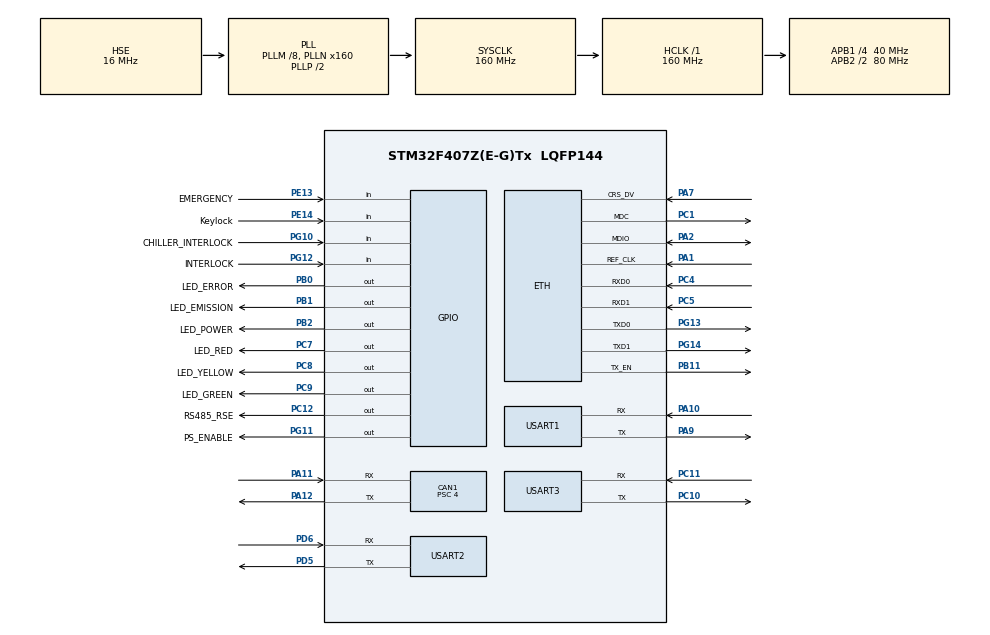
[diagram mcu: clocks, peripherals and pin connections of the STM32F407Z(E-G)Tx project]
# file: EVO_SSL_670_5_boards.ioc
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CAN1.BS1=CAN_BS1_11TQ
CAN1.BS2=CAN_BS2_8TQ
CAN1.CalculateBaudRate=500000
CAN1.CalculateTimeBit=2000
CAN1.CalculateTimeQuantum=100.0
CAN1.Prescaler=4
ETH.MACAddr=00\:80\:E1\:00\:00\:0B
ETH.MediaInterface=HAL_ETH_RMII_MODE
ETH.PHY_DUPLEX_STATUS=0x0010
ETH.PHY_Name_RMII=DP83848_PHY_ADDRESS
ETH.PHY_SPEED_STATUS=0x0004
ETH.PHY_SR=0x1F
ETH.PhyAddress=3
FREERTOS.Mutexes01=CanMutex,Dynamic,NULL
FREERTOS.Tasks01=main_task,0,2048,h_main_task,Default,NULL,Dynamic,NULL,NULL;indi_task,0,256,h_indi_task,Default,NULL,Dynamic,NULL,NULL;server_task,0,2048,h_server_task,Default,NULL,Dynamic,NULL,NULL;can_send,0,1024,h_can_send,Default,NULL,Dynamic,NULL,NULL;toolsTask,-3,512,h_tools,Default,NULL,Dynamic,NULL,NULL
FREERTOS.configTOTAL_HEAP_SIZE=40000
FREERTOS.configUSE_NEWLIB_REENTRANT=1
LWIP.BSP.number=1
LWIP.LWIP_DHCP=0
LWIP.LWIP_NETIF_LOOPBACK=1
LWIP.LWIP_NETIF_STATUS_CALLBACK=1
LWIP.LWIP_SO_RCVTIMEO=1
LWIP.LWIP_SO_SNDRCVTIMEO_NONSTANDARD=0
LWIP.LWIP_SO_SNDTIMEO=1
LWIP.NETMASK_ADDRESS=255.255.255.000
LWIP.Version=v2.1.2_Cube
LWIP0.BSP.STBoard=false
LWIP0.BSP.api=BSP_COMPONENT_DRIVER
LWIP0.BSP.component=DP83848
LWIP0.BSP.instance=DP83848
LWIP0.BSP.name=Driver_PHY
LWIP0.BSP.semaphore=S_DP83848
LWIP0.BSP.solution=DP83848
Mcu.Family=STM32F4
Mcu.Name=STM32F407Z(E-G)Tx
Mcu.Package=LQFP144
NVIC.CAN1_RX0_IRQn=true\:5\:0\:false\:false\:true\:true\:true\:true\:true
NVIC.ETH_IRQn=true\:5\:0\:false\:false\:true\:true\:true\:true\:true
NVIC.PriorityGroup=NVIC_PRIORITYGROUP_4
NVIC.TIM6_DAC_IRQn=true\:15\:0\:false\:false\:true\:false\:true\:true\:true
NVIC.TimeBase=TIM6_DAC_IRQn
NVIC.TimeBaseIP=TIM6
NVIC.USART1_IRQn=true\:5\:0\:false\:false\:true\:true\:true\:true\:true
NVIC.USART2_IRQn=true\:5\:0\:false\:false\:true\:true\:true\:true\:true
NVIC.USART3_IRQn=true\:5\:0\:false\:false\:true\:true\:true\:true\:true
PA1.Mode=RMII
PA1.Signal=ETH_REF_CLK
PA10.Mode=Asynchronous
PA10.Signal=USART1_RX
PA11.Mode=CAN_Activate
PA11.Signal=CAN1_RX
PA12.Mode=CAN_Activate
PA12.Signal=CAN1_TX
PA13.Mode=Trace_Asynchronous_SW
PA13.Signal=SYS_JTMS-SWDIO
PA14.Mode=Trace_Asynchronous_SW
PA14.Signal=SYS_JTCK-SWCLK
PA2.Mode=RMII
PA2.Signal=ETH_MDIO
PA7.Mode=RMII
PA7.Signal=ETH_CRS_DV
PA9.Mode=Asynchronous
PA9.Signal=USART1_TX
PB0.GPIO_Label=LED_ERROR
PB0.Signal=GPIO_Output
PB1.GPIO_Label=LED_EMISSION
PB1.Signal=GPIO_Output
PB11.Mode=RMII
PB11.Signal=ETH_TX_EN
PB2.GPIO_Label=LED_POWER
PB2.Signal=GPIO_Output
PB3.Mode=Trace_Asynchronous_SW
PB3.Signal=SYS_JTDO-SWO
PC1.Mode=RMII
PC1.Signal=ETH_MDC
PC10.Mode=Asynchronous
PC10.Signal=USART3_TX
PC11.Mode=Asynchronous
PC11.Signal=USART3_RX
PC12.GPIO_Label=RS485_RSE
PC12.Signal=GPIO_Output
PC4.Mode=RMII
PC4.Signal=ETH_RXD0
PC5.Mode=RMII
PC5.Signal=ETH_RXD1
PC7.GPIO_Label=LED_RED
PC7.Signal=GPIO_Output
PC8.GPIO_Label=LED_YELLOW
PC8.Signal=GPIO_Output
PC9.GPIO_Label=LED_GREEN
PC9.Signal=GPIO_Output
PD5.Mode=Asynchronous
PD5.Signal=USART2_TX
PD6.Mode=Asynchronous
PD6.Signal=USART2_RX
PE13.GPIO_Label=EMERGENCY
PE13.Signal=GPIO_Input
PE14.GPIO_Label=Keylock
PE14.Signal=GPIO_Input
PG10.GPIO_Label=CHILLER_INTERLOCK
PG10.GPIO_PuPd=GPIO_NOPULL
PG10.Signal=GPIO_Input
PG11.GPIO_Label=PS_ENABLE
PG11.Signal=GPIO_Output
PG12.GPIO_Label=INTERLOCK
PG12.Signal=GPIO_Input
PG13.Mode=RMII
PG13.Signal=ETH_TXD0
PG14.Mode=RMII
PG14.Signal=ETH_TXD1
PH0-OSC_IN.Mode=HSE-External-Oscillator
PH0-OSC_IN.Signal=RCC_OSC_IN
PH1-OSC_OUT.Mode=HSE-External-Oscillator
PH1-OSC_OUT.Signal=RCC_OSC_OUT
ProjectManager.HeapSize=0x400
ProjectManager.StackSize=0x800
ProjectManager.TargetToolchain=STM32CubeIDE
RCC.48MHZClocksFreq_Value=45714285.71428572
RCC.AHBFreq_Value=160000000
RCC.APB1CLKDivider=RCC_HCLK_DIV4
RCC.APB1Freq_Value=40000000
RCC.APB1TimFreq_Value=80000000
RCC.APB2CLKDivider=RCC_HCLK_DIV2
RCC.APB2Freq_Value=80000000
RCC.APB2TimFreq_Value=160000000
RCC.CortexFreq_Value=160000000
RCC.HCLKFreq_Value=160000000
RCC.HSE_VALUE=16000000
RCC.HSI_VALUE=16000000
RCC.LSE_VALUE=32768
RCC.PLLM=8
RCC.PLLN=160
RCC.PLLQ=7
RCC.PLLSourceVirtual=RCC_PLLSOURCE_HSE
RCC.SYSCLKFreq_VALUE=160000000
RCC.SYSCLKSource=RCC_SYSCLKSOURCE_PLLCLK
RCC.VCOOutputFreq_Value=320000000
USART1.VirtualMode=VM_ASYNC
USART2.VirtualMode=VM_ASYNC
USART3.VirtualMode=VM_ASYNC
VP_FREERTOS_VS_CMSIS_V1.Mode=CMSIS_V1
VP_LWIP_VS_Enabled.Mode=Enabled
VP_SYS_VS_tim6.Mode=TIM6
board=custom

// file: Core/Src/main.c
/* USER CODE BEGIN Header */
/**
  ******************************************************************************
  * @file           : main.c
  * @brief          : Main program body
  ******************************************************************************
  * @attention
  *
  * Copyright (c) 2023 STMicroelectronics.
  * All rights reserved.
  *
  * This software is licensed under terms that can be found in the LICENSE file
  * in the root directory of this software component.
  * If no LICENSE file comes with this software, it is provided AS-IS.
  *
  ******************************************************************************
  */
/* USER CODE END Header */
#include "main.h"
#include "cmsis_os.h"
#include "can.h"
#include "lwip.h"
#include "usart.h"
#include "gpio.h"

void SystemClock_Config(void);
void MX_FREERTOS_Init(void);

int main(void)
{

  /* MCU Configuration--------------------------------------------------------*/

  /* Reset of all peripherals, Initializes the Flash interface and the Systick. */
   HAL_Init();

  /* USER CODE BEGIN Init */
  HAL_Delay(1000);
  /* USER CODE END Init */

  /* Configure the system clock */
  SystemClock_Config();

  /* Initialize all configured peripherals */
  MX_GPIO_Init();
  MX_CAN1_Init();
  MX_USART1_UART_Init();
  MX_USART3_UART_Init();
  MX_USART2_UART_Init();

  /* Call init function for freertos objects (in cmsis_os2.c) */
  MX_FREERTOS_Init();

  /* Start scheduler */
  osKernelStart();

  /* We should never get here as control is now taken by the scheduler */

  /* Infinite loop */
  while (1)
  {

  }
}

void SystemClock_Config(void)
{
  RCC_OscInitTypeDef RCC_OscInitStruct = {0};
  RCC_ClkInitTypeDef RCC_ClkInitStruct = {0};

  /** Configure the main internal regulator output voltage
  */
  __HAL_RCC_PWR_CLK_ENABLE();
  __HAL_PWR_VOLTAGESCALING_CONFIG(PWR_REGULATOR_VOLTAGE_SCALE1);

  /** Initializes the RCC Oscillators according to the specified parameters
  * in the RCC_OscInitTypeDef structure.
  */
  RCC_OscInitStruct.OscillatorType = RCC_OSCILLATORTYPE_HSE;
  RCC_OscInitStruct.HSEState = RCC_HSE_ON;
  RCC_OscInitStruct.PLL.PLLState = RCC_PLL_ON;
  RCC_OscInitStruct.PLL.PLLSource = RCC_PLLSOURCE_HSE;
  RCC_OscInitStruct.PLL.PLLM = 8;
  RCC_OscInitStruct.PLL.PLLN = 160;
  RCC_OscInitStruct.PLL.PLLP = RCC_PLLP_DIV2;
  RCC_OscInitStruct.PLL.PLLQ = 7;
  if (HAL_RCC_OscConfig(&RCC_OscInitStruct) != HAL_OK)
  {
    Error_Handler();
  }

  /** Initializes the CPU, AHB and APB buses clocks
  */
  RCC_ClkInitStruct.ClockType = RCC_CLOCKTYPE_HCLK|RCC_CLOCKTYPE_SYSCLK
                              |RCC_CLOCKTYPE_PCLK1|RCC_CLOCKTYPE_PCLK2;
  RCC_ClkInitStruct.SYSCLKSource = RCC_SYSCLKSOURCE_PLLCLK;
  RCC_ClkInitStruct.AHBCLKDivider = RCC_SYSCLK_DIV1;
  RCC_ClkInitStruct.APB1CLKDivider = RCC_HCLK_DIV4;
  RCC_ClkInitStruct.APB2CLKDivider = RCC_HCLK_DIV2;

  if (HAL_RCC_ClockConfig(&RCC_ClkInitStruct, FLASH_LATENCY_5) != HAL_OK)
  {
    Error_Handler();
  }
}

void HAL_TIM_PeriodElapsedCallback(TIM_HandleTypeDef *htim)
{
  if (htim->Instance == TIM6) {
    HAL_IncTick();
  }
}

void Error_Handler(void)
{
  __disable_irq();
  while (1)
  {
  }
}

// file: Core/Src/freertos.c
/* USER CODE BEGIN Header */
/**
  ******************************************************************************
  * File Name          : freertos.c
  * Description        : Code for freertos applications
  ******************************************************************************
  * @attention
  *
  * Copyright (c) 2023 STMicroelectronics.
  * All rights reserved.
  *
  * This software is licensed under terms that can be found in the LICENSE file
  * in the root directory of this software component.
  * If no LICENSE file comes with this software, it is provided AS-IS.
  *
  ******************************************************************************
  */
#include "../Inc/main.h"
#ifndef TB_DEF
/* USER CODE END Header */

#include "FreeRTOS.h"
#include "task.h"
#include "main.h"
#include "cmsis_os.h"

/* USER CODE BEGIN Includes */
#endif
#include "../Inc/tools.h"
#include "../Inc/global.h"
#include "../Inc/can.h"
#include "../Inc/server.h"
#include "../Inc/commands_handler.h"
#include "../Inc/hardware.h"
#include "../../board_prj_driver_lib/tools/temp_control.h"

/* USER CODE END Includes */

/* USER CODE BEGIN Variables */
device_struct mcs_storage;

uint8_t uart1_rx_byte; // PSU rs232 interface
uint8_t uart2_rx_byte;

#if HPLD_1000_COUNT > 0
	uint8_t hpld_1000_can_id[HPLD_1000_COUNT] = {2};
#endif
#if TEC3_COUNT > 0
	uint8_t tec3_can_id[TEC3_COUNT] = {3,4,5,6};
#endif
#if TEC2_COUNT > 0
	uint8_t tec2_can_id[TEC2_COUNT] = {7};
#endif
#if CB_COUNT > 0
	uint8_t cb_can_id[TEC3_COUNT] = {1};
#endif

/* Definitions for dev_refresh_task */
int dev_refresh_task_state = 0;
osThreadId  dev_refresh_taskHandle;
osThreadId  oriental_laser_taskHandle;

QueueHandle_t  ind_queueHandle;
QueueHandle_t int_can_mess_queue;
QueueHandle_t send_can_mess_queue;
QueueHandle_t link_queueHandle;
QueueHandle_t tcp_rx_data_queue;
QueueHandle_t  exti_alarm_queueHandle;
QueueHandle_t  debugger_queueHandle;
QueueHandle_t rs232_rx_data_queue;

/* USER CODE END Variables */
osThreadId main_taskHandle;
osThreadId indi_taskHandle;
osThreadId server_taskHandle;
osThreadId can_sendHandle;
osThreadId toolsTaskHandle;
osMutexId CanMutexHandle;

/* USER CODE BEGIN FunctionPrototypes */
void TEC_temperature_check(device_struct* mcs);
void dev_refresh_task_h(const void *argument);
/* USER CODE END FunctionPrototypes */

void h_main_task(void const * argument);
void h_indi_task(void const * argument);
void h_server_task(void const * argument);
void h_can_send(void const * argument);
void h_tools(void const * argument);

extern void MX_LWIP_Init(void);
void MX_FREERTOS_Init(void); /* (MISRA C 2004 rule 8.1) */

/* GetIdleTaskMemory prototype (linked to static allocation support) */
void vApplicationGetIdleTaskMemory( StaticTask_t **ppxIdleTaskTCBBuffer, StackType_t **ppxIdleTaskStackBuffer, uint32_t *pulIdleTaskStackSize );

/* USER CODE BEGIN GET_IDLE_TASK_MEMORY */
static StaticTask_t xIdleTaskTCBBuffer;
static StackType_t xIdleStack[configMINIMAL_STACK_SIZE];
#ifndef TB_DEF
void vApplicationGetIdleTaskMemory( StaticTask_t **ppxIdleTaskTCBBuffer, StackType_t **ppxIdleTaskStackBuffer, uint32_t *pulIdleTaskStackSize )
{
  *ppxIdleTaskTCBBuffer = &xIdleTaskTCBBuffer;
  *ppxIdleTaskStackBuffer = &xIdleStack[0];
  *pulIdleTaskStackSize = configMINIMAL_STACK_SIZE;
  /* place for user code */
}
#endif
/* USER CODE END GET_IDLE_TASK_MEMORY */

void MX_FREERTOS_Init(void) {
  /* USER CODE BEGIN Init */
	read_last_config_data(&mcs_storage.config);

  /* USER CODE END Init */
  /* Create the mutex(es) */
  /* definition and creation of CanMutex */
  osMutexDef(CanMutex);
  CanMutexHandle = osMutexCreate(osMutex(CanMutex));

  /* USER CODE BEGIN RTOS_QUEUES */
	/* add queues, ... */
	ind_queueHandle = xQueueCreate(10, sizeof(uint8_t));
	int_can_mess_queue = xQueueCreate(5, sizeof(can_message_struct));
	send_can_mess_queue = xQueueCreate(2, sizeof(can_message_struct_tx));
	link_queueHandle = xQueueCreate(5, sizeof(uint8_t));
	tcp_rx_data_queue  = xQueueCreate(TCP_QUEUE_BUF_SIZE, sizeof(char));
	rs232_rx_data_queue  = xQueueCreate(RS232_QUEUE_BUF_SIZE, sizeof(char));
  /* USER CODE END RTOS_QUEUES */

  /* Create the thread(s) */
  /* definition and creation of main_task */
  osThreadDef(main_task, h_main_task, osPriorityNormal, 0, 2048);
  main_taskHandle = osThreadCreate(osThread(main_task), NULL);

  /* definition and creation of indi_task */
  osThreadDef(indi_task, h_indi_task, osPriorityNormal, 0, 256);
  indi_taskHandle = osThreadCreate(osThread(indi_task), NULL);

  /* definition and creation of server_task */
  osThreadDef(server_task, h_server_task, osPriorityNormal, 0, 2048);
  server_taskHandle = osThreadCreate(osThread(server_task), NULL);

  /* definition and creation of can_send */
  osThreadDef(can_send, h_can_send, osPriorityNormal, 0, 1024);
  can_sendHandle = osThreadCreate(osThread(can_send), NULL);

  /* definition and creation of toolsTask */
  osThreadDef(toolsTask, h_tools, osPriorityIdle, 0, 512);
  toolsTaskHandle = osThreadCreate(osThread(toolsTask), NULL);

  /* USER CODE BEGIN RTOS_THREADS */
	/* add threads, ... */
  osThreadSuspend(server_taskHandle);
  osThreadSuspend(indi_taskHandle);
  osThreadSuspend(can_sendHandle);
  osThreadSuspend(toolsTaskHandle);
  /* USER CODE END RTOS_THREADS */

}

void h_main_task(void const * argument)
{
  /* init code for LWIP */
  MX_LWIP_Init();
  /* USER CODE BEGIN h_main_task */
	device_struct *mcs = &mcs_storage;
	char debug_buffer [1000];

	char tcp_buffer [1000];
	char resp [1000];
	long tcp_buffer_ind = 0 ;

	int PLD_initialized = 0;

	for(int try = 0; try < 3;try++){
		alarm_and_state_handler(mcs);
#ifndef TB_DEF
		osDelay(100);
#endif
	}

	leds_init (&mcs->leds);

	can_configure_filters(&hcan1, MCS_CAN_ID);
	can_start_module(&hcan1);
	osDelay(3000);

#if HPLD_1000_COUNT > 0
	for(uint16_t i = 0; i < HPLD_1000_COUNT;i++)
		hpld_1000_init(&mcs->hpld_1000[i],&hcan1,hpld_1000_can_id[i],&int_can_mess_queue,CanMutexHandle);
#endif

#if TEC3_COUNT > 0
	for(int i = 0; i < TEC3_COUNT; i ++)
	{
		tec3_controller_struct *dev = &mcs->tec3[i];
		tec3_init(dev, &hcan1, tec3_can_id[i], &int_can_mess_queue, CanMutexHandle);
		if(mcs->config.tec_temp[i] > 10 && mcs->config.tec_temp[i] < 100)
		{
			tec3_set_temperature_0(dev, mcs->config.tec_temp[i]);
			tec3_set_start_stop(dev, mcs->config.tec_onoff[i]);
		}
	}
#endif

#if TEC2_COUNT > 0
	for(int i = 0; i < TEC2_COUNT; i ++)
	{
		tec2_controller_struct *dev = &mcs->tec2[i];
		tec2_init(dev, &hcan1, tec2_can_id[i], &int_can_mess_queue, CanMutexHandle);
		if(mcs->config.tec_temp[i] > 10 && mcs->config.tec2_temp[i] < 100)
		{
			tec2_set_temperature_0(dev, mcs->config.tec2_temp[i]);
			tec2_set_start_stop(dev, mcs->config.tec2_onoff[i]);
		}
	}
#endif

#if CB_COUNT > 0
	for(int i = 0; i < CB_COUNT; i ++)
		EVO_SSL_670_15_CONTROL_433739_065_init(&mcs->cb[i], &hcan1, cb_can_id[i], &int_can_mess_queue, CanMutexHandle);
#endif

	osThreadResume(server_taskHandle);
	osThreadResume(indi_taskHandle);
	osThreadResume(can_sendHandle);
	osThreadResume(toolsTaskHandle);

	 osThreadDef ( dev_refresh , dev_refresh_task_h, osPriorityNormal, 1, 256);
	 dev_refresh_taskHandle = osThreadCreate(osThread(dev_refresh), NULL);

	 osThreadDef ( oriental_laser_task , vTaskPLD, osPriorityNormal, 1, 256);
	 oriental_laser_taskHandle = osThreadCreate(osThread(oriental_laser_task), NULL);

	/* Infinite loop */
	for(;;)
	{
		HAL_UART_Receive_IT ( &huart2 , &uart2_rx_byte , 1 ) ;
		if (xQueueReceive(tcp_rx_data_queue, &tcp_buffer[tcp_buffer_ind], 0) == pdPASS) {
			if (tcp_buffer[tcp_buffer_ind] == '\r' || tcp_buffer[tcp_buffer_ind] == '\n')
			{
				tcp_buffer[tcp_buffer_ind + 1] = '\0';
				CommandsHandler(mcs, resp, debug_buffer, tcp_buffer, 0);
				//	memset(tcp_buffer,0,tcp_buffer_ind);
				tcp_buffer[tcp_buffer_ind] = '\0';
				tcp_buffer_ind = 0;
			}
			else if (tcp_buffer_ind < TCP_QUEUE_BUF_SIZE - 2)
			{
				//backspase ...
				if (tcp_buffer[tcp_buffer_ind] == '\b' && tcp_buffer_ind > 0)
					tcp_buffer_ind--;
				else
					tcp_buffer_ind++;
			}
			else
			{
				tcp_buffer_ind = 0;
			}
		}
		else {
			osDelay(1);
		}
		// clear response buffer to prepare for next cycle begin
		mcs->current_interface = get_interface_in();
		// clear response buffer to prepare for next cycle end
		if(!PLD_initialized)
			if(PLD_IsConnected())
			{
				// from now we don't need to start it on startup, just parametrize
				mcs->config.psu_params.mode_state.val = 0x1A; //EXT OFF
				PLD_SetParams(&mcs->config.psu_params);
				osDelay(3000);
				PLD_SetParams(&mcs->config.psu_params);
				PLD_initialized = 1;
			}
	}
  /* USER CODE END h_main_task */
}

void h_indi_task(void const * argument)
{
  /* USER CODE BEGIN h_indi_task */
	osDelay(100);
	/* Infinite loop */
	for(;;)
	{
		indication_handler(&ind_queueHandle, &mcs_storage);
		osDelay(1);
	}
  /* USER CODE END h_indi_task */
}

void h_server_task(void const * argument)
{
  /* USER CODE BEGIN h_server_task */
	osDelay(100);
	/* Infinite loop */
	for(;;)
	{
		server_handler(&tcp_rx_data_queue,&ind_queueHandle);
	}
  /* USER CODE END h_server_task */
}

void h_can_send(void const * argument)
{
  /* USER CODE BEGIN h_can_send */
	can_message_struct_tx cm;
	int repeat = 5;
	int err =0;
  /* Infinite loop */
  for(;;)
  {
	if(xQueueReceive(send_can_mess_queue,&cm,0) == pdPASS){
		err = 0;
		xSemaphoreTake(CanMutexHandle,portMAX_DELAY);
		for (int8_t reps = repeat; reps > 0; reps --){
			can_send_message(cm.h_can, &cm.tx_header, cm.data);
			err = cm.ack_func(cm.device, cm.cmd_id, 100);
			if(err == 0)
				break;
		}
		xSemaphoreGive(CanMutexHandle);
	}
	else
		osDelay(1);
  }
  /* USER CODE END h_can_send */
}

void h_tools(void const * argument)
{
  /* USER CODE BEGIN h_tools */
	device_struct* mcs = &mcs_storage;
	float *temps_to_check[] = {
		&mcs->tec2[0].state.temp,
		&mcs->tec3[0].state.temp,
		&mcs->tec3[1].state.temp,
		&mcs->tec3[2].state.temp,
		&mcs->tec3[3].state.temp,
		&mcs->cb[0].state.temp[0],
		&mcs->cb[0].state.temp[1]
	};
	float *temps_max_levels[] = {
		&mcs->config.max_tec2_temp_level[0],
		&mcs->config.max_tec_temp_level[0],
		&mcs->config.max_tec_temp_level[1],
		&mcs->config.max_tec_temp_level[2],
		&mcs->config.max_tec_temp_level[3],
		&mcs->config.max_cb_temps_level[0],
		&mcs->config.max_cb_temps_level[1]
	};
	const int num_temperatures = sizeof(temps_to_check) / sizeof(float);
	const int num_levels = sizeof(temps_max_levels) / sizeof(float);
	const float unused_fan_temp = -1.0;

	mcs->leds.panel.power.on();
  /* Infinite loop */
	for(;;)
	{
		int err = 0;
		// turn on external green led if needed
		if(mcs->cb[0].state.green_led[0]!= 1)
			EVO_SSL_670_15_CONTROL_433739_065_set_led_green(&mcs->cb[0], 0, 1);

		if(mcs->cb[0].state.green_led[1] != mcs->user_mode.PSU_permission)
			EVO_SSL_670_15_CONTROL_433739_065_set_led_green(&mcs->cb[0], 1, mcs->user_mode.PSU_permission);

		alarm_and_state_handler (mcs);
		temp_control(temps_to_check, num_temperatures, unused_fan_temp, temps_max_levels, num_levels, &mcs->user_mode.overheat);

		mcs->user_mode.output_started = get_emission(mcs);
		if(mcs->cb[0].state.orange_led != mcs->user_mode.output_started)
			EVO_SSL_670_15_CONTROL_433739_065_set_led_orange(&mcs->cb[0], mcs->user_mode.output_started);

		TEC_temperature_check(mcs);

		err += get_error(mcs);
		if(mcs->cb[0].state.red_led != (err!=0))
			EVO_SSL_670_15_CONTROL_433739_065_set_led_red(&mcs->cb[0], (err!=0));

		if(mcs->psu.mode_state.bits.output)
		{
			int psu_err = 0;
			psu_err += mcs->psu.mode_state.bits.no_flow;
			psu_err += !mcs->psu.mode_state.bits.no_overcurrent;
			psu_err += !mcs->psu.mode_state.bits.no_overtemp;
			psu_err += !mcs->psu.mode_state.bits.no_overvoltage;
			if(psu_err)
			{
				PLD_data_t p = mcs->psu;
				p.mode_state.val = 0x1A; // External trigger Off
				PLD_SetParams(&p);
			}
		}

		// internal leds control
		(mcs->user_mode.output_started == 0)?mcs->leds.panel.emission.off():mcs->leds.panel.emission.on();
		(err == 0)?mcs->leds.panel.error.off():mcs->leds.panel.error.on();

		// we're not using mcs->user_mode.ld_tec_not_ready because it is only for user loop
		if (mcs->alarms.val != 0 && mcs->user_mode.output_started) {
			user_mode_prepare ();
			create_usr_offtaskHandle ();
		}
	}
  /* USER CODE END h_tools */
}

/* USER CODE BEGIN Application */

void TEC_temperature_check(device_struct* mcs)
{
#define OK_STATE_TIME 30
	static uint32_t ok_state_time_for_all = 0;
	static uint32_t last_ok_state_time_for_all = 0;
	int ok_state = 1;
//	for(int i = 0; i < TEC3_COUNT; i ++)
		if(mcs->config.tec_onoff[2] == 1)
			if(abs_f(mcs->tec3[2].state.temp - mcs->config.tec_temp[2]) > TEMPERATURE_GAP_FOR_LD)
				ok_state = 0;

	if(ok_state == 0)
	{
		ok_state_time_for_all = 0;
		last_ok_state_time_for_all = osKernelSysTick();
	}
	else
	{
		uint32_t tick = osKernelSysTick();
		ok_state_time_for_all += (tick - last_ok_state_time_for_all);
		last_ok_state_time_for_all = tick;
	}

	if((float)ok_state_time_for_all/1000 > OK_STATE_TIME)
	{
		ok_state_time_for_all = (OK_STATE_TIME+1)*1000;
		mcs->user_mode.ld_tec_not_ready = 0;
	}
	else
		mcs->user_mode.ld_tec_not_ready = 1;
}

void dev_refresh_task_h(const void *argument)
{
	//	device_struct *mcs = &mcs_storage ;
	dev_refresh_task_state = 1;
	device_struct* mcs = &mcs_storage;
	/* Infinite loop */
	for(;;)
	{
		for(int i = 0; i < HPLD_1000_COUNT; i ++)
			refresh_hpld_1000_state(&mcs->hpld_1000[i]);
		for(int i = 0; i < TEC3_COUNT; i ++)
			refresh_tec3_state(&mcs->tec3[i]);
		for(int i = 0; i < TEC2_COUNT; i ++)
			refresh_tec2_state(&mcs->tec2[i]);
		for(int i = 0; i < CB_COUNT; i ++)
			refresh_EVO_SSL_670_15_CONTROL_433739_065_state(&mcs->cb[i]);
		PLD_data_t p;
		PLD_GetMeasured(&p);   // читаем текущее
		memcpy(&mcs->psu,&p,sizeof(PLD_data_t));
		mcs->user_mode.PSU_state = mcs->psu.mode_state.bits.output;
		osDelay(10);
	}
	dev_refresh_task_state = 0;
}

void HAL_UART_RxCpltCallback ( UART_HandleTypeDef *huart )
{
	BaseType_t xHigherPriorityTaskWoken = pdFALSE ;
	if ( huart == &huart2){
		if ( xQueueSendFromISR ( tcp_rx_data_queue , ( &uart2_rx_byte ) ,
				&xHigherPriorityTaskWoken ) == pdPASS ){
// OK processing
			set_interface_in(INTERFACE_USB_UART2) ;
		} else{
// ERROR processing
		}
		HAL_UART_Receive_IT ( &huart2 , &uart2_rx_byte , 1 ) ;
	}
	else if ( huart == &huart1){
		if ( xQueueSendFromISR ( rs232_rx_data_queue , ( &uart1_rx_byte ) ,
				&xHigherPriorityTaskWoken ) == pdPASS ){
// OK processing
		} else{
// ERROR processing
		}
		HAL_UART_Receive_IT ( &huart1 , &uart1_rx_byte , 1 ) ;
	}

}

void HAL_CAN_RxFifo0MsgPendingCallback(CAN_HandleTypeDef *CanHandle)
{
	can_message_struct can_mess;
	BaseType_t xHigherPriorityTaskWoken = pdFALSE;
	int tmp = CAN_IND_REQ;

	if(CanHandle == &hcan1){
		if(HAL_CAN_GetRxMessage(CanHandle,CAN_RX_FIFO0,&can_mess.rx_header,can_mess.data) == HAL_OK){
			if(xQueueSendFromISR(int_can_mess_queue,&can_mess,&xHigherPriorityTaskWoken) != pdPASS){
				//Обработка ошибки
			}
			if(xQueueSendFromISR(ind_queueHandle,&tmp,&xHigherPriorityTaskWoken) != pdPASS){
				//Обработка ошибки
			}
		}
	}
}
/* USER CODE END Application */
